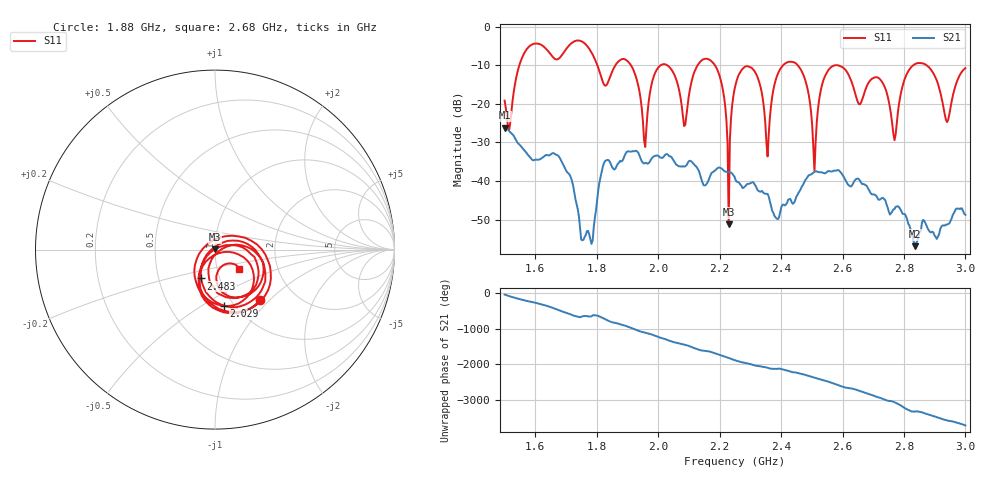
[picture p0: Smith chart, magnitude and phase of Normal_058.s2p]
# HZ S RI R 50
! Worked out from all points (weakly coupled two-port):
!   404 points, 1.5 GHz to 3 GHz, reference 50 ohm
!   highest |S21| = -26.16 dB at 1.5 GHz (marker M1); lowest = -56.9 dB at 2.836 GHz (marker M2)
!   lowest |S11| = -51.2 dB at 2.23 GHz (marker M3), VSWR 1.01, Z = 50 + j0.274 ohm
!   |S11| at or under -10 dB: 2.185 GHz to 2.407 GHz (221.9 MHz wide, 9.67 % of centre); 2.585 GHz to 2.83 GHz (245.3 MHz wide, 9.06 % of centre); 2.874 GHz to end of sweep (the widest 3 of 8)
!   S12 and S22 are empty: the file has one direction only
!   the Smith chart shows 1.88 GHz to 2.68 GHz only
!   S11 on the Smith chart (normalised r, x): 1.88 GHz: 1.33, -0.88; 2.029 GHz: 0.89, -0.63; 2.483 GHz: 0.81, -0.27; 2.68 GHz: 1.28, -0.28
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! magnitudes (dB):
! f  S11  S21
! 1.5 GHz  -19.2  -26.2
! 1.679 GHz  -8.1  -33.9
! 1.753 GHz  -3.9  -55.4
! 1.88 GHz  -8.5  -34.9
! 1.958 GHz  -31.2  -35.3
! 2.002 GHz  -10.4  -33.6
! 2.029 GHz  -9.9  -33.0
! 2.084 GHz  -25.7  -36.2
! 2.181 GHz  -9.6  -37.5
! 2.23 GHz  -51.2  -37.6
! 2.252 GHz  -15.0  -39.7
! 2.311 GHz  -11.3  -40.5
! 2.356 GHz  -33.6  -43.3
! 2.404 GHz  -10.2  -46.2
! 2.483 GHz  -15.0  -39.3
! 2.501 GHz  -25.6  -38.1
! 2.561 GHz  -10.6  -37.5
! 2.68 GHz  -15.2  -41.4
! 2.751 GHz  -19.3  -47.9
! 2.836 GHz  -9.7  -56.9
! 2.94 GHz  -24.7  -51.3
! 3 GHz  -10.7  -48.7
